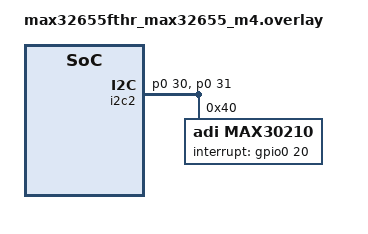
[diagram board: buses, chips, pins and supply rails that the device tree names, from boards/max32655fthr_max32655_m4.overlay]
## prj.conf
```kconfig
CONFIG_SENSOR=y
CONFIG_STDOUT_CONSOLE=y
# CONFIG_I2C=y
# CONFIG_MAX30210=y
CONFIG_FPU=y
CONFIG_MAX30210_TRIGGER_GLOBAL_THREAD=n
CONFIG_MAX30210_TRIGGER_OWN_THREAD=y
CONFIG_MAX30210_TRIGGER_NONE=n

# CONFIG_SHELL=y
# CONFIG_I2C_SHELL=y
```

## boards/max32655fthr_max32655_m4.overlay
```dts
/*
 * Copyright (c) 2025 Analog Devices Inc.
 *
 * SPDX-License-Identifier: Apache-2.0
 */

&i2c2_scl_p0_30 {
	power-source = <MAX32_VSEL_VDDIOH>;
};

&i2c2_sda_p0_31 {
	power-source = <MAX32_VSEL_VDDIOH>;
};

&i2c2 {
	pinctrl-0 = <&i2c2_scl_p0_30 &i2c2_sda_p0_31>;
	pinctrl-names = "default";
	status = "okay";

	max30210: max30210@40 {
		status = "okay";
    	compatible = "adi,max30210";
    	reg = <0x40>;
		interrupt-gpios = <&gpio0 20 0>;
		sampling-rate = <0x8>;
		alarm-high-setup = <25000>;
		alarm-low-setup = <20000>;
  };
};
```

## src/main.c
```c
/*
 * Copyright (c) 2025 Analog Devices Inc.
 *
 * SPDX-License-Identifier: Apache-2.0
 */

// #include <zephyr/drivers/sensor/max30011.h>
#include <stdio.h>

#include <zephyr/device.h>
#include <zephyr/kernel.h>
#include <zephyr/drivers/sensor.h>
#include <zephyr/drivers/sensor/max30210.h>
#include <zephyr/drivers/i2c.h>

#define MAX30210_NODE    DT_NODELABEL(max30210)
#define TRIGGER_SET_TEST 1

static const struct device *max30210_dev = DEVICE_DT_GET(MAX30210_NODE);


#define TASK_STACK_SIZE 1024
K_THREAD_STACK_DEFINE(thread_stack, TASK_STACK_SIZE);
struct k_thread thread_id;

void handler(const struct device *dev, const struct sensor_trigger *trig)
{
	struct sensor_value temp_value;
	printf("Interrupt triggered: %s\n", dev->name);
	int ret = sensor_sample_fetch(dev);
	if (ret < 0) {
		printf("Failed to fetch sample: %d\n", ret);
		return;
	}
	ret = sensor_channel_get(dev, SENSOR_CHAN_AMBIENT_TEMP, &temp_value);
	if (ret < 0) {
		printf("Failed to get temperature channel: %d\n", ret);
		return;
	}
	uint8_t interrupt_status = 0;
	// ret = max30210_reg_read(dev, 0x00, &interrupt_status, 1); // Read interrupt status
	// register
	printf("Temperature is too High: %f C \n", sensor_value_to_float(&temp_value));
}

static void thread_sim(void *p1, void *p2, void *p3)
{
	ARG_UNUSED(p1);
	ARG_UNUSED(p2);
	ARG_UNUSED(p3);
	while (1) {
	printf("Simulated thread running...\n");
	k_sleep(K_MSEC(500));
	}
}

void new_temp_handler(const struct device *dev, const struct sensor_trigger *trig)
{
	struct sensor_value temp_value;
	printf("New temperature handler triggered: %s\n", dev->name);
	int ret = sensor_sample_fetch(dev);
	if (ret < 0) {
		printf("Failed to fetch sample: %d\n", ret);
		return;
	}
	ret = sensor_channel_get(dev, SENSOR_CHAN_AMBIENT_TEMP, &temp_value);
	if (ret < 0) {
		printf("Failed to get temperature channel: %d\n", ret);
		return;
	}
	printf("New Temperature is: %f C \n", sensor_value_to_float(&temp_value));
	// Read interrupt status register
}

int main(void)
{
	printf("Starting MAX30210 sample application\n");
	if (!device_is_ready(max30210_dev)) {
		printf("MAX30210 device not ready\n");
		return -ENODEV;
	}
	printf("MAX30210 device is ready: %s\n", max30210_dev->name);

	int ret;

	struct sensor_trigger trig = {.type = SENSOR_TRIG_THRESHOLD,
				      .chan = SENSOR_CHAN_AMBIENT_TEMP};

	ret = sensor_trigger_set(max30210_dev, &trig, handler);
	if (ret < 0) {
		printf("Failed to set trigger: %d\n", ret);
		return ret;
	}

	struct sensor_trigger new_temp_trig = {.type = SENSOR_TRIG_DATA_READY,
					       .chan = SENSOR_CHAN_AMBIENT_TEMP};

	ret = sensor_trigger_set(max30210_dev, &new_temp_trig, new_temp_handler);
	if (ret < 0) {
		printf("Failed to set trigger: %d\n", ret);
		return ret;
	}
	uint8_t interrupt_enable_setup = 0x00; // Initialize to 0x00
	ret = max30210_reg_read(max30210_dev, 0x02, &interrupt_enable_setup, 1);

	printf("Interrupt Enable Setup: 0x%02X\n", interrupt_enable_setup);
	
	k_thread_create(&thread_id, thread_stack, TASK_STACK_SIZE,
			thread_sim, NULL, NULL, NULL,
			7, 0, K_NO_WAIT);

	k_thread_name_set(&thread_id, "simulated_thread");

	k_thread_start(&thread_id);
	
	return 0;

}
```
